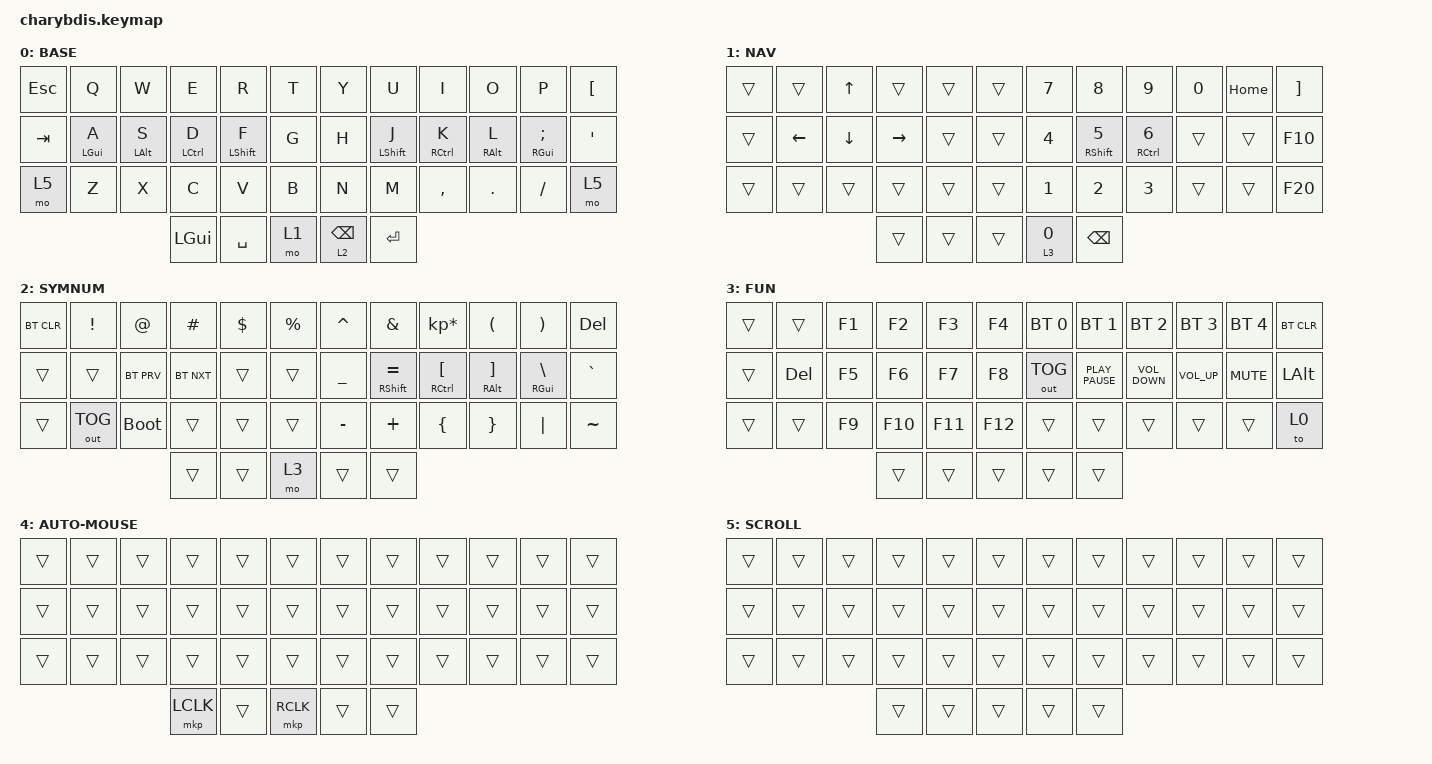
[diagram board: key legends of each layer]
#include <behaviors/mouse_keys.dtsi>
#include <behaviors.dtsi>
#include <dt-bindings/zmk/bt.h>
#include <dt-bindings/zmk/keys.h>
#include <dt-bindings/zmk/mouse.h>
#include <dt-bindings/zmk/outputs.h>

#define U_TAPPING_TERM 200

/ {
    chosen { zmk,matrix_transform = &default_transform; };
};

/ {
    combos {
        compatible = "zmk,combos";

        LeftClickRight {
            bindings = <&mkp LCLK>;
            key-positions = <19 20>;
        };

        RightClickRight {
            bindings = <&mkp RCLK>;
            key-positions = <20 21>;
        };

        MiddleClickRight {
            bindings = <&mkp MCLK>;
            key-positions = <21 22>;
        };

        ParaLeft {
            bindings = <&kp LEFT_PARENTHESIS>;
            key-positions = <4 5>;
            timeout-ms = <20>;
        };

        ParaRight {
            bindings = <&kp RIGHT_PARENTHESIS>;
            key-positions = <6 7>;
            timeout-ms = <20>;
        };

        BrakLeft {
            bindings = <&kp LEFT_BRACKET>;
            key-positions = <16 17>;
            timeout-ms = <20>;
        };

        BrakRight {
            bindings = <&kp RIGHT_BRACKET>;
            key-positions = <18 19>;
            timeout-ms = <20>;
        };

        BraceLeft {
            bindings = <&kp LEFT_BRACE>;
            key-positions = <28 29>;
            timeout-ms = <20>;
        };

        BraceRight {
            bindings = <&kp RIGHT_BRACE>;
            key-positions = <30 31>;
            timeout-ms = <20>;
        };

        Equals {
            bindings = <&kp EQUAL>;
            key-positions = <31 32>;
            timeout-ms = <20>;
        };

        DoubleQuote {
            bindings = <&kp DOUBLE_QUOTES>;
            key-positions = <15 16>;
            timeout-ms = <20>;
        };

        SingleQuote {
            bindings = <&kp APOSTROPHE>;
            key-positions = <19 20>;
            timeout-ms = <20>;
        };

        //LangRu {
        //    bindings = <&kp LG(F11)>;
        //    key-positions = <0 1>;
        //    timeout-ms = <20>;
        //};

        //LangUs {
        //   bindings = <&kp LG(F12)>;
        //    key-positions = <10 11>;
        //    timeout-ms = <20>;
        //};

        //LangRuL {
        //    bindings = <&kp LG(F11)>;
        //    key-positions = <36 38>;
        //    timeout-ms = <20>;
        //};

        //LangUsL {
        //    bindings = <&kp LG(F12)>;
        //    key-positions = <39 41>;
        //    timeout-ms = <20>;
        //};

        TildaSign {
            bindings = <&kp TILDE>;
            key-positions = <0 12>;
            timeout-ms = <20>;
        };

        GraveSign {
            bindings = <&kp GRAVE>;
            key-positions = <12 24>;
            timeout-ms = <20>;
        };

        MinusSign {
            bindings = <&kp MINUS>;
            key-positions = <3 4>;
            timeout-ms = <20>;
        };

        PlusSign {
            bindings = <&kp PLUS>;
            key-positions = <2 3>;
            timeout-ms = <20>;
        };

        UnderscoreSign {
            bindings = <&kp UNDERSCORE>;
            key-positions = <7 8>;
            timeout-ms = <20>;
        };

        PipeSign {
            bindings = <&kp PIPE>;
            key-positions = <8 9>;
            timeout-ms = <20>;
        };
    };

    behaviors {
        u_mt: u_mt {
            compatible = "zmk,behavior-hold-tap";
            label = "u_mt";
            #binding-cells = <2>;
            tapping_term_ms = <U_TAPPING_TERM>;
            flavor = "tap-preferred";
            bindings = <&kp>, <&kp>;
        };

        u_lt: u_lt {
            compatible = "zmk,behavior-hold-tap";
            label = "u_lt";
            #binding-cells = <2>;
            tapping_term_ms = <U_TAPPING_TERM>;
            flavor = "tap-preferred";
            bindings = <&mo>, <&kp>;
        };

        Shift_Enter: Shift_Enter {
            compatible = "zmk,behavior-hold-tap";
            label = "SHIFT_ENTER";
            bindings = <&kp>, <&kp>;

            #binding-cells = <2>;
            hold-trigger-key-positions = <40>;
            tapping-term-ms = <100>;
        };
    };

    keymap {
        compatible = "zmk,keymap";

        BASE {
            bindings = <
&kp ESC  &kp Q             &kp W             &kp E          &kp R               &kp T    &kp Y            &kp U               &kp I          &kp O              &kp P                 &kp LEFT_BRACKET
&kp TAB  &u_mt LEFT_GUI A  &u_mt LEFT_ALT S  &u_mt LCTRL D  &u_mt LEFT_SHIFT F  &kp G    &kp H            &u_mt LEFT_SHIFT J  &u_mt RCTRL K  &u_mt RIGHT_ALT L  &u_mt RIGHT_GUI SEMI  &kp APOS
&mo 5    &kp Z             &kp X             &kp C          &kp V               &kp B    &kp N            &kp M               &kp COMMA      &kp DOT            &kp FSLH              &mo 5
                                             &kp LGUI       &kp SPACE           &mo 1    &lt 2 BACKSPACE  &kp RET
            >;
        };

        NAV {
            bindings = <
&trans  &trans    &kp UP    &trans     &trans  &trans    &kp N7           &kp N8                &kp N9          &kp N0  &kp HOME  &kp RIGHT_BRACKET
&trans  &kp LEFT  &kp DOWN  &kp RIGHT  &trans  &trans    &kp N4           &u_mt RIGHT_SHIFT N5  &u_mt RCTRL N6  &trans  &trans    &kp F10
&trans  &trans    &trans    &trans     &trans  &trans    &kp N1           &kp N2                &kp N3          &trans  &trans    &kp F20
                            &trans     &trans  &trans    &lt 3 N0  &kp BACKSPACE
            >;
        };

        SYMNUM {
            bindings = <
&bt BT_CLR  &kp EXCL      &kp AT       &kp HASH    &kp DLLR  &kp PRCNT    &kp CARET  &kp AMPS                 &kp KP_MULTIPLY   &kp LPAR              &kp RPAR              &kp DEL
&trans      &trans        &bt BT_PRV   &bt BT_NXT  &trans    &trans       &kp UNDER  &u_mt RIGHT_SHIFT EQUAL  &u_mt RCTRL LBKT  &u_mt RIGHT_ALT RBKT  &u_mt RIGHT_GUI BSLH  &kp GRAVE
&trans      &out OUT_TOG  &bootloader  &trans      &trans    &trans       &kp MINUS  &kp PLUS                 &kp LBRC          &kp RBRC              &kp PIPE              &kp TILDE
                                       &trans      &trans    &mo 3        &trans     &trans
            >;
        };

        FUN {
            bindings = <
&trans  &trans   &kp F1  &kp F2   &kp F3   &kp F4     &bt BT_SEL 0  &bt BT_SEL 1      &bt BT_SEL 2       &bt BT_SEL 3     &bt BT_SEL 4  &bt BT_CLR
&trans  &kp DEL  &kp F5  &kp F6   &kp F7   &kp F8     &out OUT_TOG  &kp K_PLAY_PAUSE  &kp C_VOLUME_DOWN  &kp C_VOLUME_UP  &kp C_MUTE    &kp LALT
&trans  &trans   &kp F9  &kp F10  &kp F11  &kp F12    &trans        &trans            &trans             &trans           &trans        &to 0
                         &trans   &trans   &trans     &trans        &trans
            >;
        };

        AUTO-MOUSE {
            bindings = <
&trans  &trans  &trans  &trans     &trans  &trans       &trans  &trans  &trans  &trans  &trans  &trans
&trans  &trans  &trans  &trans     &trans  &trans       &trans  &trans  &trans  &trans  &trans  &trans
&trans  &trans  &trans  &trans     &trans  &trans       &trans  &trans  &trans  &trans  &trans  &trans
                        &mkp LCLK  &trans  &mkp RCLK    &trans  &trans
            >;
        };

        SCROLL {
            bindings = <
&trans  &trans  &trans  &trans  &trans  &trans    &trans  &trans  &trans  &trans  &trans  &trans
&trans  &trans  &trans  &trans  &trans  &trans    &trans  &trans  &trans  &trans  &trans  &trans
&trans  &trans  &trans  &trans  &trans  &trans    &trans  &trans  &trans  &trans  &trans  &trans
                        &trans  &trans  &trans    &trans  &trans
            >;
        };
    };
};
